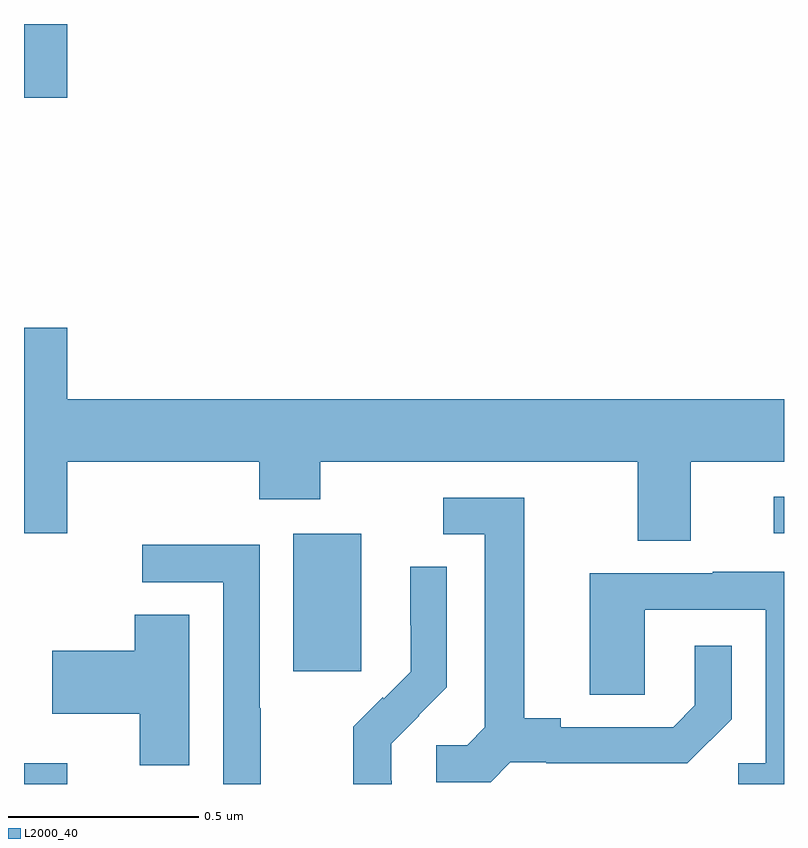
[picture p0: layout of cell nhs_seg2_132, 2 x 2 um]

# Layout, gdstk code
import gdstk
lib = gdstk.Library(unit=1e-6, precision=1e-09)
def R(c, l, rs):  # rectangles x0, y0, x1, y1
    for r in rs: c.add(gdstk.rectangle(r[:2], r[2:], *l))
def P(c, l, *ps):  # polygons
    for p in ps: c.add(gdstk.Polygon(p, *l))
L2000_40 = (2000, 40)

nhs_seg2_132 = lib.new_cell('nhs_seg2_132')
R(nhs_seg2_132, L2000_40, [(112,634.8,112.114,634.855), (112.709,635.097,112.888,635.458), (113.973,635.46,114,635.556), (112,636.606,112.114,636.8)])
P(nhs_seg2_132, L2000_40, [(113.755,635.648),(114,635.648),(114,635.812),(112.114,635.812),(112.114,636.001),(112,636.001),(112,635.46),(112.114,635.46),(112.114,635.648),(112.619,635.648),(112.619,635.549),(112.779,635.549),(112.779,635.648),(113.615,635.648),(113.615,635.44),(113.755,635.44)],
  [(113.28,634.857),(113.374,634.857),(113.374,634.854),(113.746,634.854),(113.862,634.97),(113.862,635.164),(113.765,635.164),(113.765,635.007),(113.708,634.95),(113.413,634.95),(113.413,634.973),(113.317,634.973),(113.317,635.553),(113.103,635.553),(113.103,635.457),(113.213,635.457),(113.213,634.949),(113.166,634.902),(113.085,634.902),(113.085,634.805),(113.228,634.805)],
  [(112.623,635),(112.62,635),(112.62,635.43),(112.311,635.43),(112.311,635.331),(112.524,635.331),(112.524,634.8),(112.623,634.8)],
  [(112.968,634.809),(112.966,634.809),(112.966,634.906),(113.04,634.98),(113.039,634.981),(113.112,635.054),(113.112,635.372),(113.016,635.372),(113.016,635.218),(113.018,635.218),(113.018,635.096),(112.947,635.025),(112.944,635.028),(112.867,634.951),(112.867,634.8),(112.968,634.8)],
  [(114,635.359),(113.813,635.359),(113.813,635.355),(113.489,635.355),(113.489,635.035),(113.634,635.035),(113.634,635.259),(113.952,635.259),(113.952,634.854),(113.88,634.854),(113.88,634.8),(114,634.8)],
  [(112.435,635.246),(112.292,635.246),(112.292,635.151),(112.074,635.151),(112.074,634.985),(112.304,634.985),(112.304,634.849),(112.435,634.849)])

lib.write_gds('nhs_seg2_132.gds')
